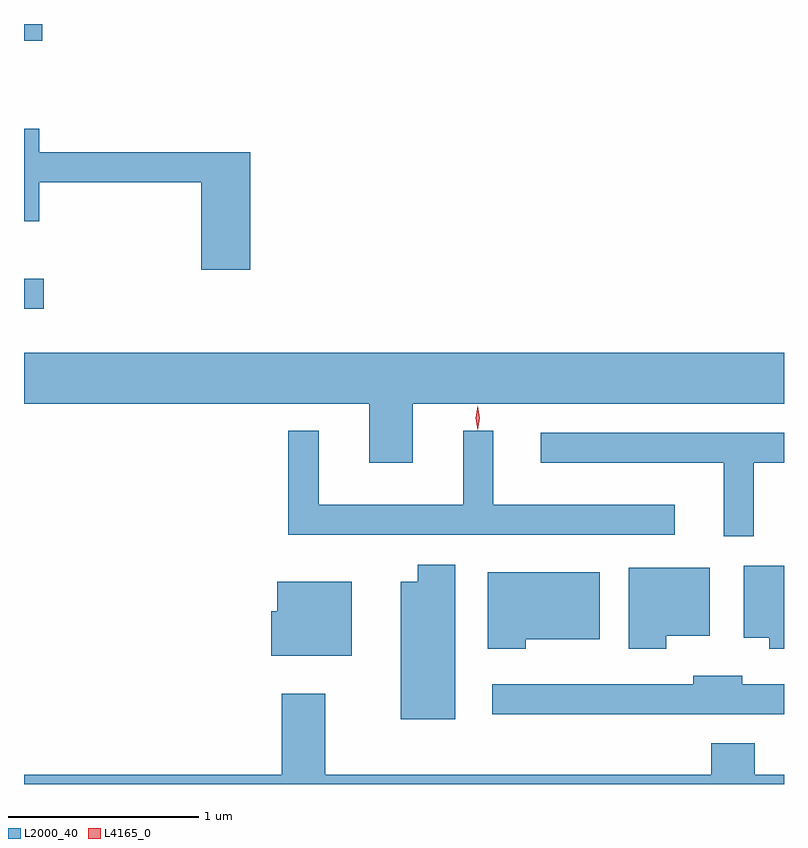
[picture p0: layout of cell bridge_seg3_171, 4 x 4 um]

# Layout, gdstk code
import gdstk
lib = gdstk.Library(unit=1e-6, precision=1e-09)
def R(c, l, rs):  # rectangles x0, y0, x1, y1
    for r in rs: c.add(gdstk.rectangle(r[:2], r[2:], *l))
def P(c, l, *ps):  # polygons
    for p in ps: c.add(gdstk.Polygon(p, *l))
L2000_40 = (2000, 40)
L4165_0 = (4165, 0)

bridge_seg3_171 = lib.new_cell('bridge_seg3_171')
R(bridge_seg3_171, L2000_40, [(758.604,1173.136,758.708,1173.294), (758.604,1174.546,758.699,1174.635)])
P(bridge_seg3_171, L2000_40, [(759.794,1173.959),(758.684,1173.959),(758.684,1174.084),(758.604,1174.084),(758.604,1173.596),(758.684,1173.596),(758.684,1173.801),(759.536,1173.801),(759.536,1173.341),(759.794,1173.341)],
  [(760.649,1172.636),(762.604,1172.636),(762.604,1172.904),(758.604,1172.904),(758.604,1172.636),(760.421,1172.636),(760.421,1172.326),(760.649,1172.326)],
  [(762.028,1172.104),(761.074,1172.104),(761.074,1172.493),(760.916,1172.493),(760.916,1172.104),(760.154,1172.104),(760.154,1172.493),(759.996,1172.493),(759.996,1171.946),(762.028,1171.946)],
  [(762.444,1172.326),(762.604,1172.326),(762.604,1172.484),(761.323,1172.484),(761.323,1172.326),(762.286,1172.326),(762.286,1171.938),(762.444,1171.938)],
  [(760.874,1171.789),(760.676,1171.789),(760.676,1171.699),(760.586,1171.699),(760.586,1170.976),(760.874,1170.976)],
  [(762.604,1171.784),(762.391,1171.784),(762.391,1171.406),(762.526,1171.406),(762.526,1171.346),(762.604,1171.346)],
  [(761.984,1171.416),(762.214,1171.416),(762.214,1171.774),(761.786,1171.774),(761.786,1171.346),(761.984,1171.346)],
  [(761.244,1171.396),(761.634,1171.396),(761.634,1171.749),(761.046,1171.749),(761.046,1171.346),(761.244,1171.346)],
  [(760.329,1171.699),(759.936,1171.699),(759.936,1171.544),(759.906,1171.544),(759.906,1171.311),(760.329,1171.311)],
  [(762.604,1171.159),(762.384,1171.159),(762.384,1171.204),(762.126,1171.204),(762.126,1171.159),(761.068,1171.159),(761.068,1171.001),(762.604,1171.001)],
  [(762.604,1170.684),(762.449,1170.684),(762.449,1170.849),(762.221,1170.849),(762.221,1170.684),(760.189,1170.684),(760.189,1171.109),(759.961,1171.109),(759.961,1170.684),(758.604,1170.684),(758.604,1170.635),(762.604,1170.635)])
P(bridge_seg3_171, L4165_0, [(760.992,1172.498),(760.992,1172.498),(760.982,1172.562),(760.992,1172.626),(760.992,1172.627),(760.993,1172.626),(761.002,1172.562),(760.993,1172.498)])

lib.write_gds('bridge_seg3_171.gds')
